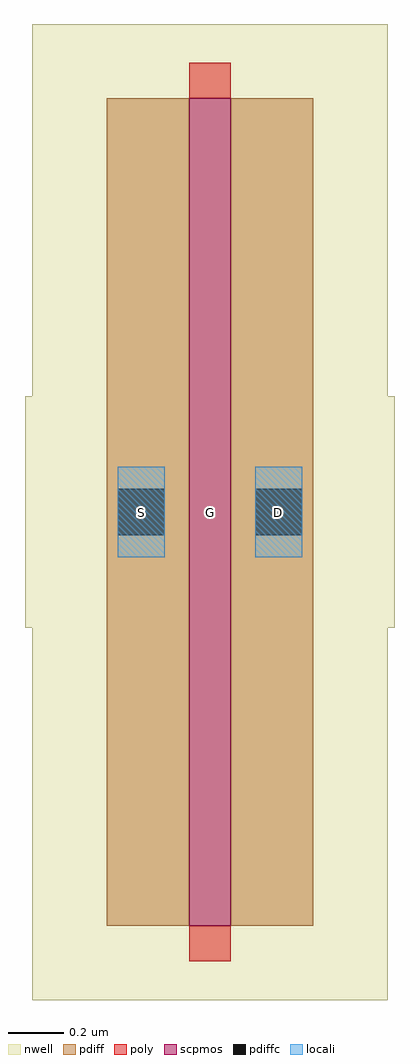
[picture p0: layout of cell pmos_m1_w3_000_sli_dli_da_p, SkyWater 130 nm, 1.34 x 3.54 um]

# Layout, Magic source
magic
tech sky130A
magscale 1 2
<< nwell >>
rect -54 -54 204 654
<< scpmos >>
rect 60 0 90 600
<< pdiff >>
rect 0 0 60 600
rect 90 0 150 600
<< poly >>
rect 60 600 90 626
rect 60 -26 90 0
<< locali >>
rect 8 267 42 333
rect 108 267 142 333
use contact_11  contact_11_1
transform 1 0 0 0 1 267
box -59 -51 109 117
use contact_11  contact_11_0
transform 1 0 100 0 1 267
box -59 -51 109 117
<< labels >>
rlabel poly s 75 300 75 300 4 G
rlabel corelocali s 25 300 25 300 4 S
rlabel corelocali s 125 300 125 300 4 D
<< properties >>
string FIXED_BBOX -54 -54 204 654
<< end >>

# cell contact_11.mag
magic
tech sky130A
magscale 1 2
<< nwell >>
rect -59 -51 109 117
<< pdiff >>
rect 0 50 50 62
rect 0 16 8 50
rect 42 16 50 50
rect 0 4 50 16
<< pdiffc >>
rect 8 16 42 50
<< locali >>
rect 8 50 42 66
rect 8 0 42 16
<< properties >>
string FIXED_BBOX -59 -51 109 117
<< end >>
